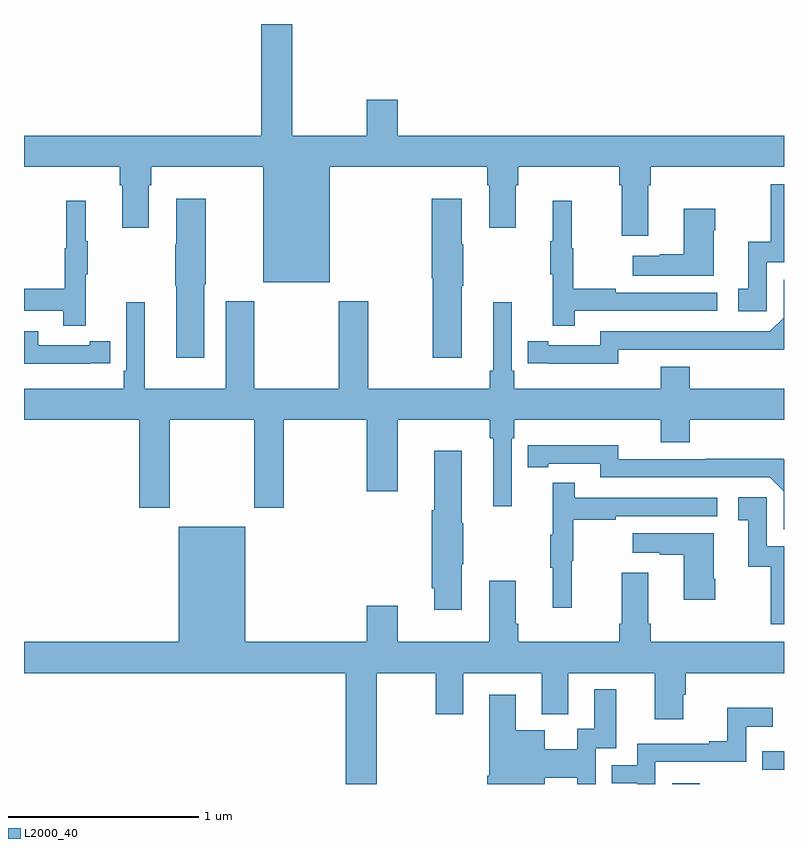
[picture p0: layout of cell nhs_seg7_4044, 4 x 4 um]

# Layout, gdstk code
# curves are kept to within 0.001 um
import gdstk
lib = gdstk.Library(unit=1e-6, precision=1e-09)
def R(c, l, rs):  # rectangles x0, y0, x1, y1
    for r in rs: c.add(gdstk.rectangle(r[:2], r[2:], *l))
def P(c, l, *ps):  # polygons
    for p in ps: c.add(gdstk.Polygon(p, *l))
L2000_40 = (2000, 40)

nhs_seg7_4044 = lib.new_cell('nhs_seg7_4044')
R(nhs_seg7_4044, L2000_40, [(370.413,1032,370.557,1032.004), (370.885,1032.075,371,1032.172)])
P(nhs_seg7_4044, L2000_40, [(368.608,1035.248),(369.437,1035.248),(369.437,1035.152),(369.449,1035.152),(369.449,1034.928),(369.589,1034.928),(369.589,1035.152),(369.602,1035.152),(369.602,1035.248),(370.133,1035.248),(370.133,1035.152),(370.145,1035.152),(370.145,1034.886),(370.285,1034.886),(370.285,1035.152),(370.298,1035.152),(370.298,1035.248),(371,1035.248),(371,1035.412),(368.968,1035.412),(368.968,1035.601),(368.804,1035.601),(368.804,1035.412),(368.413,1035.412),(368.413,1036),(368.249,1036),(368.249,1035.412),(367,1035.412),(367,1035.248),(367.505,1035.248),(367.505,1035.152),(367.517,1035.152),(367.517,1034.928),(367.657,1034.928),(367.657,1035.152),(367.67,1035.152),(367.67,1035.248),(368.258,1035.248),(368.258,1034.642),(368.608,1034.642)],
  [(370.908,1034.745),(371,1034.745),(371,1035.156),(370.929,1035.156),(370.929,1034.853),(370.811,1034.853),(370.811,1034.607),(370.758,1034.607),(370.758,1034.487),(370.908,1034.487)],
  [(367.948,1034.629),(367.956,1034.629),(367.956,1035.079),(367.802,1035.079),(367.802,1034.84),(367.795,1034.84),(367.795,1034.623),(367.802,1034.623),(367.802,1034.244),(367.948,1034.244)],
  [(369.304,1034.623),(369.312,1034.623),(369.312,1034.84),(369.304,1034.84),(369.304,1035.079),(369.146,1035.079),(369.146,1034.661),(369.151,1034.661),(369.151,1034.244),(369.304,1034.244)],
  [(369.899,1034.49),(370.648,1034.49),(370.648,1034.586),(370.115,1034.586),(370.115,1034.606),(369.892,1034.606),(369.892,1034.82),(369.884,1034.82),(369.884,1035.07),(369.782,1035.07),(369.782,1034.857),(369.771,1034.857),(369.771,1034.683),(369.782,1034.683),(369.782,1034.412),(369.899,1034.412)],
  [(367.325,1034.683),(367.336,1034.683),(367.336,1034.857),(367.325,1034.857),(367.325,1035.07),(367.222,1035.07),(367.222,1034.82),(367.215,1034.82),(367.215,1034.606),(367,1034.606),(367,1034.49),(367.207,1034.49),(367.207,1034.412),(367.325,1034.412)],
  [(370.63,1034.915),(370.638,1034.915),(370.638,1035.028),(370.472,1035.028),(370.472,1034.789),(370.346,1034.789),(370.346,1034.779),(370.203,1034.779),(370.203,1034.675),(370.63,1034.675)],
  [(370.128,1034.286),(370.996,1034.285),(371,1034.289),(371,1034.655),(370.998,1034.655),(370.998,1034.454),(370.926,1034.382),(370.032,1034.382),(370.032,1034.31),(369.76,1034.31),(369.76,1034.33),(369.652,1034.33),(369.652,1034.214),(370.128,1034.213)],
  [(367.767,1033.916),(368.212,1033.916),(368.212,1033.455),(368.367,1033.455),(368.367,1033.916),(368.804,1033.916),(368.804,1033.542),(368.968,1033.542),(368.968,1033.916),(369.451,1033.916),(369.451,1033.82),(369.47,1033.82),(369.47,1033.461),(369.567,1033.461),(369.567,1033.82),(369.581,1033.82),(369.581,1033.916),(370.352,1033.916),(370.352,1033.799),(370.505,1033.799),(370.505,1033.916),(371,1033.916),(371,1034.08),(370.505,1034.08),(370.505,1034.197),(370.352,1034.197),(370.352,1034.08),(369.581,1034.08),(369.581,1034.176),(369.567,1034.176),(369.567,1034.536),(369.47,1034.536),(369.47,1034.176),(369.451,1034.176),(369.451,1034.08),(368.811,1034.08),(368.811,1034.542),(368.656,1034.542),(368.656,1034.08),(368.211,1034.08),(368.211,1034.542),(368.063,1034.542),(368.063,1034.08),(367.636,1034.08),(367.636,1034.536),(367.539,1034.536),(367.539,1034.176),(367.526,1034.176),(367.526,1034.08),(367,1034.08),(367,1033.916),(367.607,1033.916),(367.607,1033.455),(367.767,1033.455)],
  [(367.346,1034.214),(367.454,1034.214),(367.454,1034.33),(367.346,1034.33),(367.346,1034.31),(367.074,1034.31),(367.074,1034.382),(367,1034.382),(367,1034.213),(367.346,1034.213)],
  [(371,1033.708),(370.996,1033.712),(370.588,1033.712),(370.588,1033.71),(370.128,1033.71),(370.128,1033.783),(369.652,1033.782),(369.652,1033.666),(369.76,1033.666),(369.76,1033.686),(370.032,1033.686),(370.032,1033.614),(370.926,1033.614),(370.998,1033.542),(370.998,1033.341),(371,1033.341)],
  [(369.304,1033.156),(369.312,1033.156),(369.312,1033.373),(369.304,1033.373),(369.304,1033.753),(369.158,1033.753),(369.158,1033.44),(369.146,1033.44),(369.146,1033.03),(369.158,1033.03),(369.158,1032.918),(369.304,1032.918)],
  [(369.884,1033.176),(369.892,1033.176),(369.892,1033.39),(370.115,1033.39),(370.115,1033.41),(370.648,1033.41),(370.648,1033.506),(369.899,1033.506),(369.899,1033.585),(369.782,1033.585),(369.782,1033.313),(369.771,1033.313),(369.771,1033.139),(369.782,1033.139),(369.782,1032.927),(369.884,1032.927)],
  [(371,1033.251),(370.908,1033.251),(370.908,1033.51),(370.758,1033.51),(370.758,1033.389),(370.811,1033.389),(370.811,1033.143),(370.929,1033.143),(370.929,1032.84),(371,1032.84)],
  [(368.693,1032),(368.857,1032),(368.857,1032.584),(369.166,1032.584),(369.166,1032.366),(369.313,1032.366),(369.313,1032.584),(369.725,1032.584),(369.725,1032.368),(369.865,1032.368),(369.865,1032.584),(370.319,1032.584),(370.319,1032.342),(370.471,1032.342),(370.471,1032.471),(370.484,1032.471),(370.484,1032.584),(371,1032.584),(371,1032.748),(370.298,1032.748),(370.298,1032.844),(370.285,1032.844),(370.285,1033.111),(370.145,1033.111),(370.145,1032.844),(370.133,1032.844),(370.133,1032.748),(369.602,1032.748),(369.602,1032.844),(369.589,1032.844),(369.589,1033.069),(369.449,1033.069),(369.449,1032.748),(368.968,1032.748),(368.968,1032.937),(368.804,1032.937),(368.804,1032.748),(368.164,1032.748),(368.164,1033.354),(367.814,1033.354),(367.814,1032.748),(367,1032.748),(367,1032.584),(368.693,1032.584)],
  [(370.638,1033.081),(370.63,1033.081),(370.63,1033.321),(370.203,1033.321),(370.203,1033.217),(370.346,1033.217),(370.346,1033.207),(370.472,1033.207),(370.472,1032.969),(370.638,1032.969)],
  [(369.742,1032.032),(369.912,1032.032),(369.912,1032),(370.008,1032),(370.008,1032.189),(370.117,1032.189),(370.117,1032.499),(370.001,1032.499),(370.001,1032.29),(369.911,1032.29),(369.911,1032.184),(369.742,1032.184),(369.742,1032.283),(369.589,1032.283),(369.589,1032.469),(369.449,1032.469),(369.449,1032.043),(369.437,1032.043),(369.437,1032),(369.742,1032)],
  [(370.323,1032.117),(370.8,1032.117),(370.8,1032.302),(370.942,1032.302),(370.942,1032.401),(370.702,1032.401),(370.702,1032.226),(370.607,1032.226),(370.607,1032.213),(370.227,1032.213),(370.227,1032.099),(370.093,1032.099),(370.093,1032.003),(370.227,1032.003),(370.227,1032),(370.323,1032)])

lib.write_gds('nhs_seg7_4044.gds')
